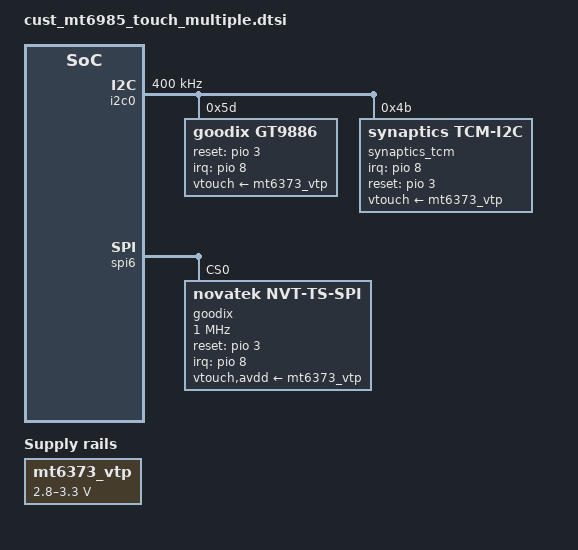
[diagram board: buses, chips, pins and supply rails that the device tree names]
// SPDX-License-Identifier: (GPL-2.0 OR MIT)
/*
 * Copyright (C) 2020 MediaTek Inc.
 */

/* TOUCH start */
&i2c0 {
	#address-cells = <1>;
	#size-cells = <0>;
	clock-frequency = <400000>;
	pinctrl-names = "default", "ts_int_active",
		"ts_reset_active", "ts_int_suspend",
		"ts_reset_suspend", "ts_i2c_mode",
		"synaptics_default", "pmx_ts_active",
		"pmx_ts_suspend", "pmx_ts_i2c_mode";
	pinctrl-0 = <&ctp_pins_default>;
	pinctrl-1 = <&ctp_ts_int_active>;
	pinctrl-2 = <&ctp_ts_reset_active>;
	pinctrl-3 = <&ctp_ts_int_suspend>;
	pinctrl-4 = <&ctp_ts_reset_suspend>;
	pinctrl-5 = <&ctp_ts_i2c_mode>;
	pinctrl-6 = <&ctp_synaptics_pins_default>;
	pinctrl-7 = <&ts_active>;
	pinctrl-8 = <&ts_suspend>;
	pinctrl-9 = <&ts_i2c_mode>;

	gt9886@5d {
		compatible = "goodix,gt9886";
		reg = <0x5d>;
		status = "ok";
		interrupt-parent = <&pio>;
		interrupts = <8 IRQ_TYPE_EDGE_FALLING 8 0>;
		vtouch-supply = <&mt6373_vtp>;
		goodix,reset-gpio = <&pio 3 0x0>;
		goodix,irq-gpio = <&pio 8 0x0>;
		goodix,irq-flags = <2>; /* 1:rising, 2:falling;*/
		goodix,panel-max-id = <10>;
		goodix,panel-max-x = <1080>;
		goodix,panel-max-y = <2340>;
		goodix,panel-max-w = <256>;
		goodix,panel-max-p = <256>;
		goodix,input-max-x = <1080>;
		goodix,input-max-y = <2340>;
		goodix,panel-key-map = <158 172 217>; /*BACK,HOMEPAGE,SEARCH*/
		goodix,power-on-delay-us = <10000>; /*10ms*/
		goodix,power-off-delay-us = <5000>;
		goodix,firmware-version = "6885af";
		goodix,config-version = "90hz6885";
		/*goodix,swap-axis;*/
		/*goodix,x2x;*/
		/*goodix,y2y;*/
		goodix,pen-enable;
		goodix,key-of-pen = <331 332>;/*BTN_STYLUS, BTN_STYLUS2*/
		tpd-filter-enable = <0>;
		tpd-filter-pixel-density = <161>;
		tpd-filter-custom-prameters = <0 0 0 0 0 0 0 0 0 0 0 0>;
		tpd-filter-custom-speed = <0 0 0>;
	};

	synaptics_tcm@4b {
		compatible = "synaptics,tcm-i2c";
		status = "ok";
		reg = <0x4b>;
		interrupt-parent = <&pio>;
		interrupts = <8 IRQ_TYPE_EDGE_FALLING 8 0>;
		//synaptics,bus-reg-name = "vdd";
		//vdd-supply = <&mt6373_vtp>;
		synaptics,pwr-reg-name = "vtouch";
		vtouch-supply = <&mt6373_vtp>;
		synaptics,irq-gpio = <&pio 8 0x2008>;
		synaptics,reset-gpio = <&pio 3 0x0>;
		synaptics,irq-on-state = <0>;
		synaptics,reset-on-state = <0>;
		synaptics,reset-active-ms = <20>;
		synaptics,reset-delay-ms = <200>;
		synaptics,power-delay-ms = <200>;
		synaptics,ubl-i2c-addr = <0x4b>;
		/* tp-io reset is only used for specific tddi devices */
		/* synaptics,tpio-reset-gpio = <&msm_gpio 102 0>; */
	};

};

&spi6 {
	status = "okay";
	#address-cells = <1>;
	#size-cells = <0>;
	pinctrl-names = "default", "gt9896s_int_active",
		"gt9896s_reset_active", "gt9896s_int_suspend",
		"gt9896s_reset_suspend", "gt9896s_spi_mode",
		"pmx_ts_int_active", "pmx_ts_rst_active",
		"pmx_ts_int_suspend", "pmx_ts_rst_suspend",
		"pmx_ts_release", "ft3518u_spi_mode";
	pinctrl-0 = <&ctp_gt9896s_pins_default>;
	pinctrl-1 = <&ctp_gt9896s_int_active>;
	pinctrl-2 = <&ctp_gt9896s_reset_active>;
	pinctrl-3 = <&ctp_gt9896s_int_suspend>;
	pinctrl-4 = <&ctp_gt9896s_reset_suspend>;
	pinctrl-5 = <&ctp_gt9896s_spi_mode>;
	pinctrl-6 = <&ts_int_active>;
	pinctrl-7 = <&ts_reset_active>;
	pinctrl-8 = <&ts_int_suspend>;
	pinctrl-9 = <&ts_reset_suspend>;
	pinctrl-10 = <&ts_release>;
	pinctrl-11 = <&ts_spi_mode>;

	goodix@0 {
		compatible = "novatek,NVT-ts-spi",
			"goodix,gt9896s",
			"goodix,nottingham",
			"focaltech,fts",
			"st,spi";
		reg = <0>; //Same as CS ID
		spi-max-frequency = <1000000>;
		pinctrl-names = "pmx_ts_active", "pmx_ts_suspend", "pmx_ts_spi_mode",
						"pmx_ts_dvdd_enable", "pmx_ts_dvdd_disable";
		pinctrl-0 = <&ts_st_reset_active &ts_st_int_active>;
		pinctrl-1 = <&ts_st_int_suspend &ts_st_reset_suspend>;
		pinctrl-2 = <&ts_st_spi_mode>;
		pinctrl-3 = <&ts_dvdd_enable>;
		pinctrl-4 = <&ts_dvdd_disable>;

		goodix,avdd-name = "vtouch";
		vtouch-supply = <&mt6373_vtp>;
		goodix,reset-gpio = <&pio 3 0x0>;
		goodix,irq-gpio = <&pio 8 0x0>;

		novatek,reset-gpio = <&pio 3 0x00>;
		novatek,irq-gpio = <&pio 8 0x00>;
		// 525
		//novatek,swrst-n8-addr = <0x01f01a>;
		// 672a, 525b, 675, 526
		novatek,swrst-n8-addr = <0x03f0fe>;
		novatek,spi-rd-fast-addr = <0x03f310>;

		goodix,irq-flags = <2>; /* 1:rising, 2:falling;*/
		goodix,panel-max-id = <10>;
		goodix,panel-max-x = <1080>;
		goodix,panel-max-y = <2400>;
		goodix,panel-max-w = <256>;
		goodix,panel-max-p = <256>;
		goodix,input-max-x = <1080>;
		goodix,input-max-y = <2400>;
		gt9895,power-voltage = <2800000>;
		goodix,panel-key-map = <158 172 217>; /*BACK,HOMEPAGE,SEARCH*/
		goodix,power-on-delay-us = <10000>; /*10ms*/
		goodix,power-off-delay-us = <5000>;
		gt9895,firmware-name = "gt9895_firmware_6985v01.bin";
		gt9895,config-name = "gt9895_cfg_6985v01.bin";
		goodix,firmware-version = "6983v04";
		goodix,config-version = "6983v04";
		/*goodix,swap-axis;*/
		/*gt9895,x2x;*/
		/*gt9895,y2y;*/
		/*goodix,x2x;*/
		/*goodix,y2y;*/
		goodix,pen-enable;
		tpd-filter-enable = <0>;
		tpd-filter-pixel-density = <161>;
		tpd-filter-custom-prameters = <0 0 0 0 0 0 0 0 0 0 0 0>;
		tpd-filter-custom-speed = <0 0 0>;

		focaltech,reset-gpio = <&pio 3 0x0>;
		focaltech,irq-gpio = <&pio 8 0x0>;
		focaltech,max-touch-number = <10>;
		focaltech,display-coords = <0 0 1080 2400>;

		interrupt-parent = <&pio>;
		interrupts = <8 0x2008>;
		avdd-supply = <&mt6373_vtp>;
		fts,config-array-size = <1>;
		fts,pwr-reg-name = "avdd";
		//fts,bus-reg-name = "vdd";
		fts,irq-gpio = <&pio 8 0x0>;
		fts,irq-gpio-name = "fts_irq";
		fts,reset-gpio-enable;
		fts,reset-gpio = <&pio 3 0x0>;
		fts,reset-gpio-name = "fts_rst";
		fts,irq-flags = <0x2008>;/* 1:rising, 2:falling;*/
		fts,x-max = <14400>;/*Super resolution*/
		fts,y-max = <32000>;/*Super resolution*/
		fts,screen_x = <1440>;
		fts,screen_y = <3200>;
		//fts,fod-lx = <4180>;
		//fts,fod-ly = <16810>;
		fts,support-super-resolution = <1>;
		//spi-max-frequency = <12000000>;
		fts,default-fw-name = "st_fts_L11a.ftb";
		fts,old-fw-name = "st_fts_L11.ftb";
		fts,thp-fw-name = "st_fts_L11a_thp.ftb";
/*		fts,touch-up-threshold-min = <40>;	*/
/*		fts,touch-up-threshold-max = <120>;	*/
/*		fts,touch-up-threshold-def = <80>;	*/
/*		fts,touch-tolerance-min = <5>;		*/
/*		fts,touch-tolerance-max = <35>;		*/
/*		fts,touch-tolerance-def = <25>;*/
		fts,touch-follow-performance-def = <3>;
		fts,touch-tap-sensitivity-def = <4>;
		fts,touch-aim-sensitivity-def = <3>;
		fts,touch-tap-stability-def = <3>;
		fts,cornerfilter-area-step1 = <100>;
		fts,cornerfilter-area-step2 = <170>;
		fts,cornerfilter-area-step3 = <250>;
		fts,touch-deadzone-filter-ver = <2 0 0 0 0 0 0 0
						 2 1 0 0 0 0 0 0
						 2 2 0 0 0 2399 0 0
						 2 3 1079 0 1079 2399 0 0>;
		fts,touch-deadzone-filter-hor = <2 0 0 0 1079 0 0 0
						 2 1 0    2399 1079 2399 0 0
						 2 2 0    0    0    2399 0 0
						 2 3 1079 0    1079 2399 0 0>;
		fts,touch-edgezone-filter-ver = <1 0 0 0 0 0 0 0
						 1 1 0    0 0    0    0 0
						 1 2 0    0 40   2339 0 0
						 1 3 1039 0 1079 2339 0 0>;
		fts,touch-edgezone-filter-hor = <1 0 0 0 1079 40 0 0
						 1 1 0    2359 1079 2399 0 0
						 1 2 0    0    40   2399 0 0
						 1 3 1039 0    1079 2399 0 0>;
		fts,touch-cornerzone-filter-ver = <0 0 0 0 0 0 0 0
						   0 1 0   0    0    0    0 0
						   0 2 0   2099 150  2399 0 0
						   0 3 929 2099 1079 2399 0 0>;
		fts,touch-cornerzone-filter-hor1 = <0 0 0 0 170 170 0 0
						    0 1 0 0    0   0    0 0
						    0 2 0 2229 170 2399 0 0
						    0 3 0 0    0   0    0 0>;
		fts,touch-cornerzone-filter-hor2 = <0 0 0 0 0 0 0 0
						    0 1 909 0    1079 170  0 0
						    0 2 0   0    0    0    0 0
						    0 3 909 2229 1079 2399 0 0>;
		fts,touch-follow-performance = <10 15 1
						8 15 1
						6 15 1
						4 15 1
						2 15 1>;
		fts,touch-tap-sensitivity = <150 140 130 120 110>;
		fts,touch-aim-sensitivity = <8 6 5 3 2>;
		fts,touch-tap-stability = <8 12 15 18 25>;
		fts,touch-expert-array = <2 15 1 120 3 15
					  4 15 1 120 2 15
					  6 15 1 120 5 15>;
		fts,cfg_0 {
			fts,tp-vendor = <0x38>;
			fts,tp-color = <0x32>;
			fts,fw-name = "st_fts_L11a.ftb";
			fts,old-fw-name = "st_fts_L11.ftb";
			fts,limit-name = "stm_fts_production_limits.csv";
		};
	};
};

&mt6373_vtp {

	regulator-boot-on;
	regulator-min-microvolt = <2800000>;
	regulator-max-microvolt = <3300000>;
};

&pio {
	ctp_pins_default: eint-default {
	};
	ctp_gt9896s_pins_default: pins-default {
	};
	ctp_ts_int_active: int-active {
		pins-cmd-dat {
			pinmux = <PINMUX_GPIO8__FUNC_GPIO8>;
			input-enable;
		};
	};
	ctp_ts_reset_active: reset-active {
		pins-cmd-dat {
			pinmux = <PINMUX_GPIO3__FUNC_GPIO3>;
			output-high;
		};
	};
	ctp_ts_int_suspend: int-suspend {
		pins-cmd-dat {
			pinmux = <PINMUX_GPIO8__FUNC_GPIO8>;
			output-low;
		};
	};
	ctp_ts_reset_suspend: reset-suspend {
		pins-cmd-dat {
			pinmux = <PINMUX_GPIO3__FUNC_GPIO3>;
			output-low;
		};
	};
	ctp_ts_i2c_mode: i2cmode-default {
		pins-cmd-dat {
			pinmux = <PINMUX_GPIO78__FUNC_SCL0>,
				<PINMUX_GPIO79__FUNC_SDA0>;
		};
	};
	ctp_gt9896s_int_active: int1-active {
		pins-cmd-dat {
			pinmux = <PINMUX_GPIO8__FUNC_GPIO8>;
			input-enable;
		};
	};
	ctp_gt9896s_reset_active: reset1-active {
		pins-cmd-dat {
			pinmux = <PINMUX_GPIO3__FUNC_GPIO3>;
			output-high;
		};
	};
	ctp_gt9896s_int_suspend: int1-suspend {
		pins-cmd-dat {
			pinmux = <PINMUX_GPIO8__FUNC_GPIO8>;
			output-low;
		};
	};
	ctp_gt9896s_reset_suspend: reset1-suspend {
		pins-cmd-dat {
			pinmux = <PINMUX_GPIO3__FUNC_GPIO3>;
			output-low;
		};
	};
	ctp_gt9896s_spi_mode: spimode-default {
		pins-cmd-dat {
			pinmux = <PINMUX_GPIO164__FUNC_SPI6_B_MI>,
				<PINMUX_GPIO165__FUNC_SPI6_B_CSB>,
				<PINMUX_GPIO166__FUNC_SPI6_B_MO>,
				<PINMUX_GPIO167__FUNC_SPI6_B_CLK>;
			drive-strength = <2>;
		};
	};
	ts_int_active: ts-int-active {
		pins-cmd-dat {
			pinmux = <PINMUX_GPIO8__FUNC_GPIO8>;
			input-enable;
		};
	};
	ts_reset_active: ts-reset-active {
		pins-cmd-dat {
			pinmux = <PINMUX_GPIO3__FUNC_GPIO3>;
			output-high;
		};
	};
	ts_int_suspend: ts-int-suspend {
		pins-cmd-dat {
			pinmux = <PINMUX_GPIO8__FUNC_GPIO8>;
			output-low;
		};
	};
	ts_reset_suspend: ts-reset-suspend {
		pins-cmd-dat {
			pinmux = <PINMUX_GPIO3__FUNC_GPIO3>;
			output-low;
		};
	};
	ts_release: ts-release {
	};
	ts_spi_mode: spimode-ftdefault {
		pins-cmd-dat {
			pinmux = <PINMUX_GPIO164__FUNC_SPI6_B_MI>,
				<PINMUX_GPIO165__FUNC_SPI6_B_CSB>,
				<PINMUX_GPIO166__FUNC_SPI6_B_MO>,
				<PINMUX_GPIO167__FUNC_SPI6_B_CLK>;
			drive-strength = <2>;
		};
	};
	ctp_synaptics_pins_default: synapins-default {
	};
	ts_active: ts-active1 {
		pins-cmd-dat {
			pinmux = <PINMUX_GPIO8__FUNC_GPIO8>;
			slew-rate = <1>;
			output-low;
		};
	};
	ts_suspend: ts-suspend1 {
		pins-cmd-dat {
			pinmux = <PINMUX_GPIO3__FUNC_GPIO3>;
			slew-rate = <1>;
			output-low;
		};
	};
	ts_i2c_mode: synai2cmode-default {
		pins-cmd-dat {
			pinmux = <PINMUX_GPIO78__FUNC_SCL0>,
				<PINMUX_GPIO79__FUNC_SDA0>;
		};
	};

	ts_st_reset_active: ts-st-reset-active {
		pins-cmd-dat {
			pinmux = <PINMUX_GPIO3__FUNC_GPIO3>;
			output-high;
		};
	};
	ts_st_int_active: ts-st-int-active {
		pins-cmd-dat {
			pinmux = <PINMUX_GPIO8__FUNC_GPIO8>;
			input-enable;
		};
	};
	ts_st_int_suspend: ts-st-int-suspend {
		pins-cmd-dat {
			pinmux = <PINMUX_GPIO8__FUNC_GPIO8>;
			slew-rate = <1>;
			bias-pull-down;
		};
	};
	ts_st_reset_suspend: ts-st-reset-suspend {
		pins-cmd-dat {
			pinmux = <PINMUX_GPIO3__FUNC_GPIO3>;
			slew-rate = <1>;
			bias-pull-down;
		};
	};
	ts_st_spi_mode: ts-spimode {
		pins-cmd-dat {
			pinmux = <PINMUX_GPIO164__FUNC_SPI6_B_MI>,
				<PINMUX_GPIO165__FUNC_SPI6_B_CSB>,
				<PINMUX_GPIO166__FUNC_SPI6_B_MO>,
				<PINMUX_GPIO167__FUNC_SPI6_B_CLK>;
			drive-strength = <2>;
		};
	};
	ts_dvdd_enable: ts-dvddenable {
		pins-cmd-dat {
			pinmux = <PINMUX_GPIO118__FUNC_GPIO118>;
			output-high;
		};
	};
	ts_dvdd_disable: ts-dvdddisable {
		pins-cmd-dat {
			pinmux = <PINMUX_GPIO118__FUNC_GPIO118>;
			output-low;
		};
	};
};

&odm {
	xiaomi_touch: xiaomi-touch {
		compatible = "tc8sp-touch";
		status = "ok";
		touch,name = "tc8sp-touch";
	};
};
/* TOUCH end */

